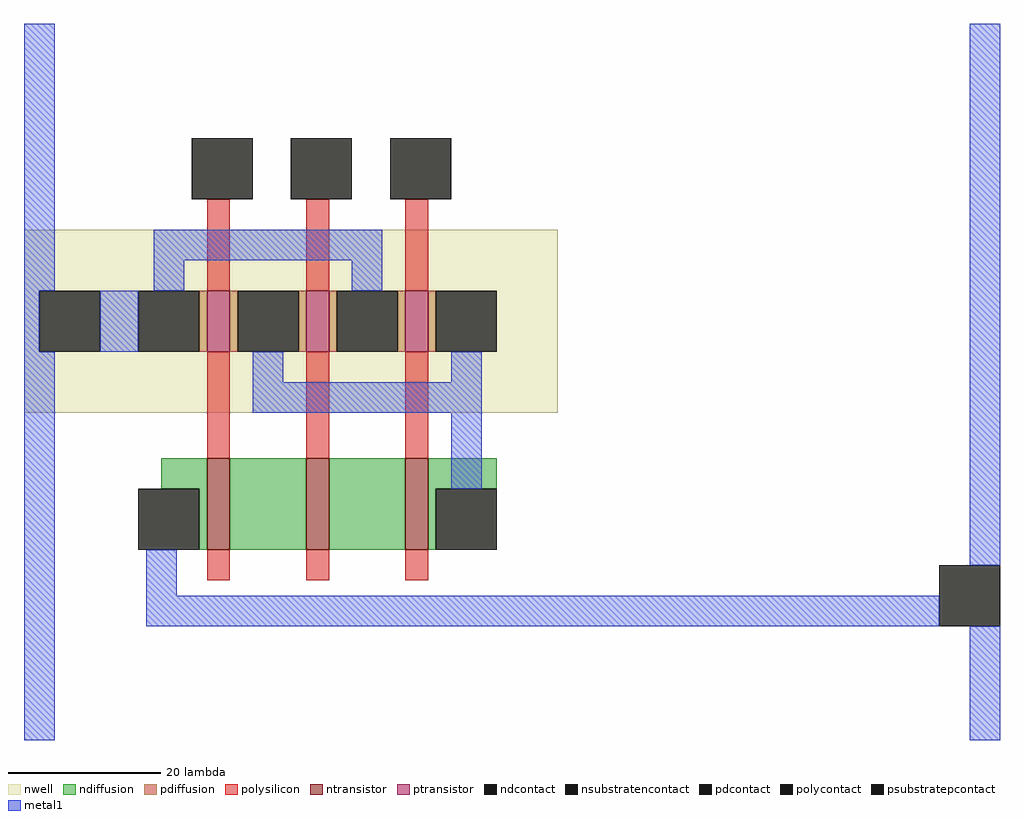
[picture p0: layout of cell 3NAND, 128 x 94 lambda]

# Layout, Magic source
magic
tech tsmc
<< nwell >>
rect -18 -8 52 16
<< ntransistor >>
rect 6 -26 9 -14
rect 19 -26 22 -14
rect 32 -26 35 -14
<< ptransistor >>
rect 6 0 9 8
rect 19 0 22 8
rect 32 0 35 8
<< ndiffusion >>
rect 0 -18 6 -14
rect 5 -26 6 -18
rect 9 -26 19 -14
rect 22 -26 32 -14
rect 35 -18 44 -14
rect 35 -26 36 -18
<< pdiffusion >>
rect 5 0 6 8
rect 9 0 10 8
rect 18 0 19 8
rect 22 0 23 8
rect 31 0 32 8
rect 35 0 36 8
<< ndcontact >>
rect -3 -26 5 -18
rect 36 -26 44 -18
<< pdcontact >>
rect -3 0 5 8
rect 10 0 18 8
rect 23 0 31 8
rect 36 0 44 8
<< psubstratepcontact >>
rect 102 -36 110 -28
<< nsubstratencontact >>
rect -16 0 -8 8
<< polysilicon >>
rect 6 8 9 20
rect 19 8 22 20
rect 32 8 35 20
rect 6 -14 9 0
rect 19 -14 22 0
rect 32 -14 35 0
rect 6 -30 9 -26
rect 19 -30 22 -26
rect 32 -30 35 -26
<< polycontact >>
rect 4 20 12 28
rect 17 20 25 28
rect 30 20 38 28
<< metal1 >>
rect -18 8 -14 43
rect -1 12 29 16
rect -1 8 3 12
rect 25 8 29 12
rect -18 0 -16 8
rect -8 0 -3 8
rect -18 -51 -14 0
rect 12 -4 16 0
rect 38 -4 42 0
rect 12 -8 42 -4
rect 38 -18 42 -8
rect -2 -32 2 -26
rect 106 -28 110 43
rect -2 -36 102 -32
rect 106 -51 110 -36
<< end >>
